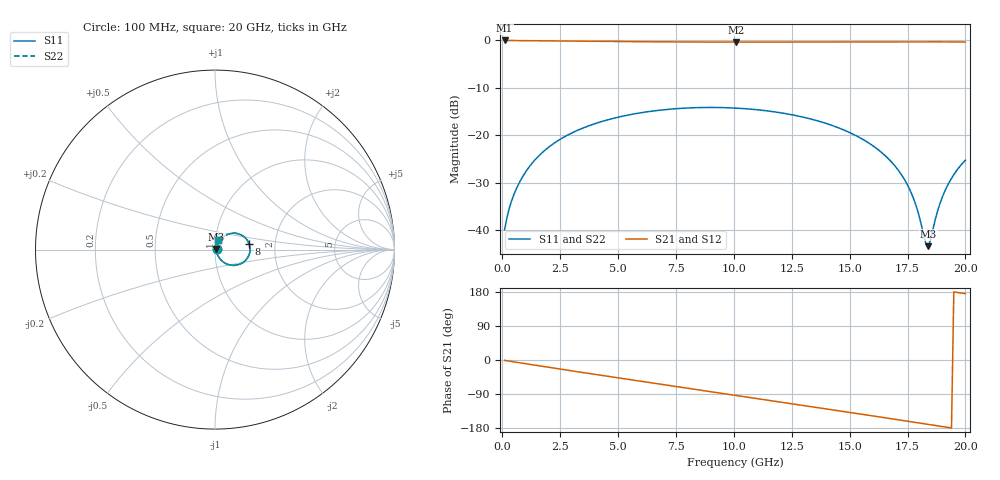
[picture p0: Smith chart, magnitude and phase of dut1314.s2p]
! Touchstone file exported from HFSS 2026.1.0
!  File:  C:/ffzhzh/LocalFiles/Ansys_Project_Files/temp_train_TSV_RDL_1314_1783335624_38704.aedt
!  Generated:  07:08:38 PM Jul  6, 2026
!  Design:  TSV_RDL
!  Project:  temp_train_TSV_RDL_1314_1783335624_38704
! Variables:
!  h_bsmrdl = 5.8um
!  h_ox = 20um
!  h_rdl = 5um
!  h_sub = 84.93um
!  h_tmrdl = 2.36um
!  h_tsv = 84.93um
!  h_via = 3um
!  l_bsmrdl = 612.62um
!  l_sub = 3020.73um
!  l_tmrdl = 150.77um
!  m_sub = 200um
!  pitch = 43.28um
!  r_tsv = 12.15um
!  s_tmrdl = 10um
!  w_bsmrdl = 29.95um
!  w_sub = 500um
!  w_tmrdl = 29.98um
!  x_tsv_center1 = 165.76um
!  x_tsv_center2 = 808.33um
!  x_tsv_center3 = 989.08um
!  x_tsv_center4 = 1631.65um
!  x_tsv_center5 = 1812.4um
!  x_tsv_center6 = 2454.97um
# GHz S MA R 50.000000
! Terminal data exported
! Port[1] = TM_RDL1_1_T1
! Port[2] = TM_RDL5_1_T1
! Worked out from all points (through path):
!   200 points, 100 MHz to 20 GHz, reference 50 ohm
!   highest |S21| = -0.08 dB at 100 MHz (marker M1); lowest = -0.4 dB at 10.1 GHz (marker M2)
!   group delay of S21, straight-line fit = 25.5 ps
!   lowest |S11| = -43.4 dB at 18.4 GHz (marker M3), VSWR 1.01, Z = 50.7 + j0.166 ohm
!   |S11| at or under -10 dB: start of sweep to end of sweep
!   |S22| runs from -43.8 to -14.2 dB; largest |S21 - S12| = 5e-14
!   S11 on the Smith chart (normalised r, x): 100 MHz: 1.02, +0.01; 8 GHz: 1.46, +0.10; 20 GHz: 1.02, +0.11
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0.1  0.01007 28.9  0.9913 -1.0  0.9913 -1.0  0.01007 28.9
! Gamma 0 0 0 0
! Port Impedance 50 0 50 0
0.3  0.01692 49.0  0.9895 -3.0  0.9895 -3.0  0.01692 49.0
0.5  0.02359 56.0  0.9883 -4.9  0.9883 -4.9  0.02359 56.0
1.2  0.04753 62.1  0.9855 -11.6  0.9855 -11.6  0.04753 62.1
2.2  0.0809 57.6  0.9807 -21.1  0.9807 -21.1  0.0809 57.6
3.5  0.119 47.7  0.9735 -33.3  0.9735 -33.3  0.119 47.7
6.8  0.1827 20.0  0.9585 -63.5  0.9585 -63.5  0.1827 20.0
8  0.1927 9.8  0.9552 -74.4  0.9552 -74.4  0.1927 9.8
10.1  0.1921 -8.2  0.9531 -93.3  0.9531 -93.3  0.1921 -8.2
11.7  0.1764 -22.0  0.9541 -107.8  0.9541 -107.8  0.1764 -22.0
13.4  0.146 -36.5  0.9567 -123.4  0.9567 -123.4  0.146 -36.6
15.3  0.09788 -52.3  0.9594 -141.0  0.9594 -141.0  0.09788 -52.4
16.7  0.05547 -62.0  0.9602 -154.1  0.9602 -154.1  0.05546 -62.2
17.2  0.03946 -63.7  0.9601 -158.7  0.9601 -158.7  0.03944 -64.1
17.6  0.02657 -62.5  0.9598 -162.5  0.9598 -162.5  0.02653 -63.1
17.9  0.0171 -56.8  0.9595 -165.3  0.9595 -165.3  0.01702 -57.7
18.3  0.007093 -12.9  0.9589 -169.0  0.9589 -169.0  0.006817 -14.0
18.4  0.006759 14.0  0.9587 -170.0  0.9587 -170.0  0.006452 14.2
18.8  0.01587 67.1  0.9579 -173.7  0.9579 -173.7  0.01571 68.1
19.1  0.02531 73.9  0.9573 -176.5  0.9573 -176.5  0.0252 74.6
19.5  0.03827 75.6  0.9562 179.7  0.9562 179.7  0.03818 76.0
20  0.05444 74.0  0.9547 175.0  0.9547 175.0  0.05437 74.4
